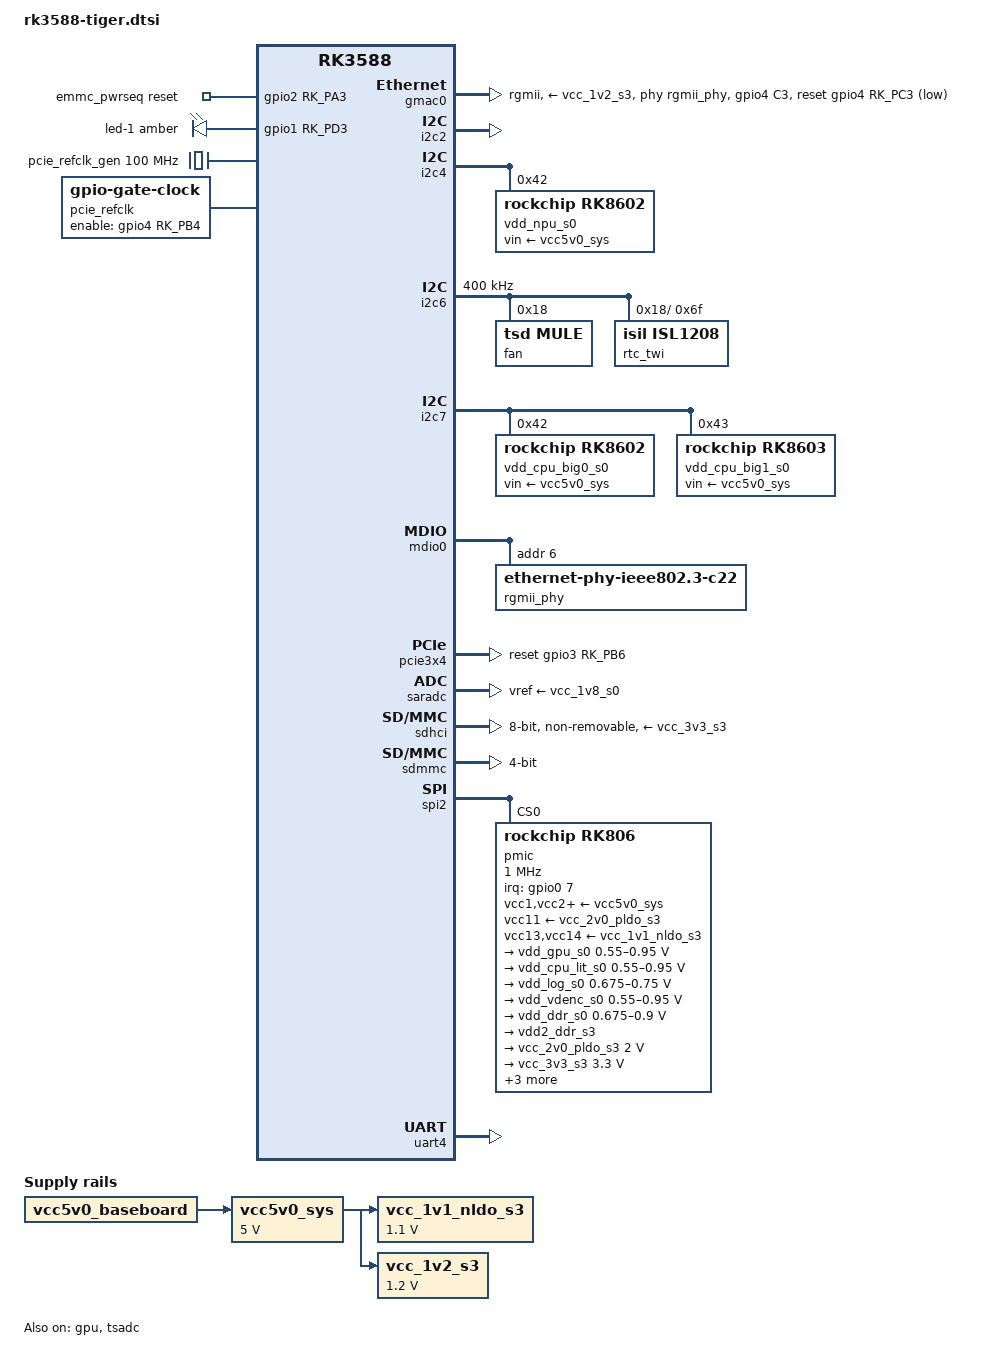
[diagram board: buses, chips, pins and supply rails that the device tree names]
// SPDX-License-Identifier: (GPL-2.0+ OR MIT)
/*
 * Copyright (c) 2023 Theobroma Systems Design und Consulting GmbH
 */

#include <dt-bindings/gpio/gpio.h>
#include <dt-bindings/leds/common.h>
#include <dt-bindings/pinctrl/rockchip.h>
#include "rk3588.dtsi"

/ {
	compatible = "tsd,rk3588-tiger", "rockchip,rk3588";

	aliases {
		i2c10 = &i2c10;
		mmc0 = &sdhci;
		rtc0 = &rtc_twi;
	};

	emmc_pwrseq: emmc-pwrseq {
		compatible = "mmc-pwrseq-emmc";
		pinctrl-0 = <&emmc_reset>;
		pinctrl-names = "default";
		reset-gpios = <&gpio2 RK_PA3 GPIO_ACTIVE_HIGH>;
	};

	extcon_usb3: extcon-usb3 {
		compatible = "linux,extcon-usb-gpio";
		id-gpios = <&gpio3 RK_PC0 GPIO_ACTIVE_HIGH>;
		pinctrl-names = "default";
		pinctrl-0 = <&usb3_id>;
		status = "disabled";
	};

	leds {
		compatible = "gpio-leds";
		pinctrl-names = "default";
		pinctrl-0 = <&module_led_pin>;

		/* Named LED1 on the board */
		led-1 {
			gpios = <&gpio1 RK_PD3 GPIO_ACTIVE_HIGH>;
			function = LED_FUNCTION_HEARTBEAT;
			linux,default-trigger = "heartbeat";
			color = <LED_COLOR_ID_AMBER>;
		};
	};

	/*
	 * 100MHz reference clock for PCIe peripherals from PI6C557-05BLE
	 * clock generator.
	 * The clock output is gated via the OE pin on the clock generator.
	 * This is modeled as a fixed-clock plus a gpio-gate-clock.
	 */
	pcie_refclk_gen: pcie-refclk-gen-clock {
		compatible = "fixed-clock";
		#clock-cells = <0>;
		clock-frequency = <100000000>;
	};

	pcie_refclk: pcie-refclk-clock {
		compatible = "gpio-gate-clock";
		clocks = <&pcie_refclk_gen>;
		#clock-cells = <0>;
		enable-gpios = <&gpio4 RK_PB4 GPIO_ACTIVE_HIGH>; /* PCIE30X4_CLKREQN_M1_L */
	};

	vcc_1v1_nldo_s3: regulator-vcc-1v1-nldo-s3 {
		compatible = "regulator-fixed";
		regulator-name = "vcc_1v1_nldo_s3";
		regulator-always-on;
		regulator-boot-on;
		regulator-min-microvolt = <1100000>;
		regulator-max-microvolt = <1100000>;
		vin-supply = <&vcc5v0_sys>;
	};

	vcc_1v2_s3: regulator-vcc-1v2-s3 {
		compatible = "regulator-fixed";
		regulator-name = "vcc_1v2_s3";
		regulator-always-on;
		regulator-boot-on;
		regulator-min-microvolt = <1200000>;
		regulator-max-microvolt = <1200000>;
		vin-supply = <&vcc5v0_sys>;
	};

	vcc5v0_sys: regulator-vcc5v0-sys {
		compatible = "regulator-fixed";
		regulator-name = "vcc5v0_sys";
		regulator-always-on;
		regulator-boot-on;
		regulator-min-microvolt = <5000000>;
		regulator-max-microvolt = <5000000>;
		vin-supply = <&vcc5v0_baseboard>;
	};
};

&cpu_b0 {
	cpu-supply = <&vdd_cpu_big0_s0>;
};

&cpu_b1 {
	cpu-supply = <&vdd_cpu_big0_s0>;
};

&cpu_b2 {
	cpu-supply = <&vdd_cpu_big1_s0>;
};

&cpu_b3 {
	cpu-supply = <&vdd_cpu_big1_s0>;
};

&cpu_l0 {
	cpu-supply = <&vdd_cpu_lit_s0>;
};

&cpu_l1 {
	cpu-supply = <&vdd_cpu_lit_s0>;
};

&cpu_l2 {
	cpu-supply = <&vdd_cpu_lit_s0>;
};

&cpu_l3 {
	cpu-supply = <&vdd_cpu_lit_s0>;
};

&gmac0 {
	clock_in_out = "output";
	phy-handle = <&rgmii_phy>;
	phy-mode = "rgmii";
	phy-supply = <&vcc_1v2_s3>;
	pinctrl-names = "default";
	pinctrl-0 = <&gmac0_miim
		     &gmac0_rx_bus2
		     &gmac0_tx_bus2
		     &gmac0_rgmii_clk
		     &gmac0_rgmii_bus
		     &eth0_pins
		     &eth_reset>;
	tx_delay = <0x10>;
	rx_delay = <0x10>;
	snps,reset-gpio = <&gpio4 RK_PC3 GPIO_ACTIVE_LOW>;
	snps,reset-active-low;
	snps,reset-delays-us = <0 10000 100000>;
};

&gpu {
	mali-supply = <&vdd_gpu_s0>;
	status = "okay";
};

&hdmi0 {
	pinctrl-names = "default";
	pinctrl-0 = <&hdmim1_tx0_cec &hdmim0_tx0_hpd &hdmim1_tx0_scl
		     &hdmim1_tx0_sda>;
};

&i2c1 {
	pinctrl-0 = <&i2c1m0_xfer>;
};

&i2c1m0_xfer {
	rockchip,pins =
		/* i2c1_scl_m0 */
		<0 RK_PB5 9 &pcfg_pull_none_drv_level_0>,
		/* i2c1_sda_m0 */
		<0 RK_PB6 9 &pcfg_pull_none_drv_level_0>;
};

&i2c2 {
	pinctrl-0 = <&i2c2m3_xfer>;
	status = "okay";
};

&i2c2m3_xfer {
	rockchip,pins =
		/* i2c2_scl_m3 */
		<1 RK_PC5 9 &pcfg_pull_none_drv_level_0>,
		/* i2c2_sda_m3 */
		<1 RK_PC4 9 &pcfg_pull_none_drv_level_0>;
};

&i2c3 {
	pinctrl-0 = <&i2c3m0_xfer>;
};

&i2c4 {
	pinctrl-0 = <&i2c4m4_xfer>;
	status = "okay";

	vdd_npu_s0: regulator@42 {
		compatible = "rockchip,rk8602";
		reg = <0x42>;
		fcs,suspend-voltage-selector = <1>;
		regulator-name = "vdd_npu_s0";
		regulator-always-on;
		regulator-boot-on;
		regulator-min-microvolt = <550000>;
		regulator-max-microvolt = <950000>;
		regulator-ramp-delay = <2300>;
		vin-supply = <&vcc5v0_sys>;

		regulator-state-mem {
			regulator-off-in-suspend;
		};
	};
};

&i2c5 {
	pinctrl-0 = <&i2c5m1_xfer>;
};

&i2c5m1_xfer {
	rockchip,pins =
		/* i2c5_scl_m1 */
		<4 RK_PB6 9 &pcfg_pull_none_drv_level_0>,
		/* i2c5_sda_m1 */
		<4 RK_PB7 9 &pcfg_pull_none_drv_level_0>;
};

&i2c6 {
	/*
	 * Mule-ATtiny can handle up to Fast mode Plus (1MHz) on I2C bus,
	 * but SOC can handle only up to (400kHz).
	 */
	clock-frequency = <400000>;
	status = "okay";

	fan@18 {
		compatible = "tsd,mule", "ti,amc6821";
		reg = <0x18>;

		i2c-mux {
			compatible = "tsd,mule-i2c-mux";
			#address-cells = <1>;
			#size-cells = <0>;

			i2c10: i2c@0 {
				reg = <0x0>;
				#address-cells = <1>;
				#size-cells = <0>;

				rtc_twi: rtc@6f {
					compatible = "isil,isl1208";
					reg = <0x6f>;
				};
			};
		};
	};
};

&i2c6m0_xfer {
	rockchip,pins =
		/* i2c6_scl_m0 */
		<0 RK_PD0 9 &pcfg_pull_none_drv_level_0>,
		/* i2c6_sda_m0 */
		<0 RK_PC7 9 &pcfg_pull_none_drv_level_0>;
};

&i2c7 {
	status = "okay";

	vdd_cpu_big0_s0: regulator@42 {
		compatible = "rockchip,rk8602";
		reg = <0x42>;
		fcs,suspend-voltage-selector = <1>;
		regulator-name = "vdd_cpu_big0_s0";
		regulator-always-on;
		regulator-boot-on;
		regulator-min-microvolt = <550000>;
		regulator-max-microvolt = <1050000>;
		regulator-ramp-delay = <2300>;
		vin-supply = <&vcc5v0_sys>;

		regulator-state-mem {
			regulator-off-in-suspend;
		};
	};

	vdd_cpu_big1_s0: regulator@43 {
		compatible = "rockchip,rk8603", "rockchip,rk8602";
		reg = <0x43>;
		fcs,suspend-voltage-selector = <1>;
		regulator-name = "vdd_cpu_big1_s0";
		regulator-always-on;
		regulator-boot-on;
		regulator-min-microvolt = <550000>;
		regulator-max-microvolt = <1050000>;
		regulator-ramp-delay = <2300>;
		vin-supply = <&vcc5v0_sys>;

		regulator-state-mem {
			regulator-off-in-suspend;
		};
	};
};

&i2c7m0_xfer {
	rockchip,pins =
		/* i2c7_scl_m0 */
		<1 RK_PD0 9 &pcfg_pull_none_drv_level_0>,
		/* i2c7_sda_m0 */
		<1 RK_PD1 9 &pcfg_pull_none_drv_level_0>;
};

&i2c8 {
	pinctrl-0 = <&i2c8m2_xfer>;
};

&mdio0 {
	rgmii_phy: ethernet-phy@6 {
		/* KSZ9031 or KSZ9131 */
		compatible = "ethernet-phy-ieee802.3-c22";
		reg = <0x6>;
		clocks = <&cru REFCLKO25M_ETH0_OUT>;
	};
};

&pcie3x4 {
	/*
	 * The board has a gpio-controlled "pcie_refclk" generator,
	 * so add it to the list of clocks.
	 */
	clocks = <&cru ACLK_PCIE_4L_MSTR>, <&cru ACLK_PCIE_4L_SLV>,
		 <&cru ACLK_PCIE_4L_DBI>, <&cru PCLK_PCIE_4L>,
		 <&cru CLK_PCIE_AUX0>, <&cru CLK_PCIE4L_PIPE>,
		 <&pcie_refclk>;
	clock-names = "aclk_mst", "aclk_slv",
		      "aclk_dbi", "pclk",
		      "aux", "pipe",
		      "ref";
	reset-gpios = <&gpio3 RK_PB6 GPIO_ACTIVE_HIGH>;
};

&pinctrl {
	emmc {
		emmc_reset: emmc-reset {
			rockchip,pins = <2 RK_PA3 RK_FUNC_GPIO &pcfg_pull_none>;
		};
	};

	ethernet {
		eth_reset: eth-reset {
			rockchip,pins = <4 RK_PC3 RK_FUNC_GPIO &pcfg_pull_none>;
		};
	};

	leds {
		module_led_pin: module-led-pin {
			rockchip,pins = <1 RK_PD3 RK_FUNC_GPIO &pcfg_pull_none>;
		};
	};

	usb3 {
		usb3_id: usb3-id {
			rockchip,pins =
			  <3 RK_PC0 RK_FUNC_GPIO &pcfg_pull_none>;
		};
	};
};

&pwm0 {
	pinctrl-0 = <&pwm0m1_pins>;
	pinctrl-names = "default";
};

&saradc {
	vref-supply = <&vcc_1v8_s0>;
	status = "okay";
};

&sdhci {
	bus-width = <8>;
	cap-mmc-highspeed;
	mmc-ddr-1_8v;
	mmc-hs200-1_8v;
	mmc-hs400-1_8v;
	mmc-hs400-enhanced-strobe;
	mmc-pwrseq = <&emmc_pwrseq>;
	no-sdio;
	no-sd;
	non-removable;
	pinctrl-names = "default";
	pinctrl-0 = <&emmc_bus8 &emmc_cmd &emmc_clk &emmc_data_strobe>;
	supports-cqe;
	vmmc-supply = <&vcc_3v3_s3>;
	vqmmc-supply = <&vcc_1v8_s3>;
	status = "okay";
};

&sdmmc {
	bus-width = <4>;
	cap-sd-highspeed;
	max-frequency = <150000000>;
	vqmmc-supply = <&vccio_sd_s0>;
};

&spi0 {
	pinctrl-0 = <&spi0m1_cs0 &spi0m1_cs1 &spi0m3_pins>;
};

&spi2 {
	assigned-clocks = <&cru CLK_SPI2>;
	assigned-clock-rates = <200000000>;
	num-cs = <1>;
	pinctrl-names = "default";
	pinctrl-0 = <&spi2m2_cs0 &spi2m2_pins>;
	status = "okay";

	pmic@0 {
		compatible = "rockchip,rk806";
		reg = <0x0>;
		interrupt-parent = <&gpio0>;
		interrupts = <7 IRQ_TYPE_LEVEL_LOW>;
		gpio-controller;
		#gpio-cells = <2>;
		pinctrl-names = "default";
		pinctrl-0 = <&pmic_pins>, <&rk806_dvs1_null>,
			    <&rk806_dvs2_null>, <&rk806_dvs3_null>;
		spi-max-frequency = <1000000>;
		system-power-controller;
		vcc1-supply = <&vcc5v0_sys>;
		vcc2-supply = <&vcc5v0_sys>;
		vcc3-supply = <&vcc5v0_sys>;
		vcc4-supply = <&vcc5v0_sys>;
		vcc5-supply = <&vcc5v0_sys>;
		vcc6-supply = <&vcc5v0_sys>;
		vcc7-supply = <&vcc5v0_sys>;
		vcc8-supply = <&vcc5v0_sys>;
		vcc9-supply = <&vcc5v0_sys>;
		vcc10-supply = <&vcc5v0_sys>;
		vcc11-supply = <&vcc_2v0_pldo_s3>;
		vcc12-supply = <&vcc5v0_sys>;
		vcc13-supply = <&vcc_1v1_nldo_s3>;
		vcc14-supply = <&vcc_1v1_nldo_s3>;
		vcca-supply = <&vcc5v0_sys>;

		rk806_dvs1_null: dvs1-null-pins {
			pins = "gpio_pwrctrl1";
			function = "pin_fun0";
		};

		rk806_dvs2_null: dvs2-null-pins {
			pins = "gpio_pwrctrl2";
			function = "pin_fun0";
		};

		rk806_dvs3_null: dvs3-null-pins {
			pins = "gpio_pwrctrl3";
			function = "pin_fun0";
		};

		regulators {
			vdd_gpu_s0: dcdc-reg1 {
				regulator-boot-on;
				regulator-min-microvolt = <550000>;
				regulator-max-microvolt = <950000>;
				regulator-ramp-delay = <12500>;
				regulator-name = "vdd_gpu_s0";
				regulator-enable-ramp-delay = <400>;

				regulator-state-mem {
					regulator-off-in-suspend;
				};
			};

			vdd_cpu_lit_s0: dcdc-reg2 {
				regulator-name = "vdd_cpu_lit_s0";
				regulator-always-on;
				regulator-boot-on;
				regulator-min-microvolt = <550000>;
				regulator-max-microvolt = <950000>;
				regulator-ramp-delay = <12500>;

				regulator-state-mem {
					regulator-off-in-suspend;
				};
			};

			vdd_log_s0: dcdc-reg3 {
				regulator-name = "vdd_log_s0";
				regulator-always-on;
				regulator-boot-on;
				regulator-min-microvolt = <675000>;
				regulator-max-microvolt = <750000>;
				regulator-ramp-delay = <12500>;

				regulator-state-mem {
					regulator-off-in-suspend;
					regulator-suspend-microvolt = <750000>;
				};
			};

			vdd_vdenc_s0: dcdc-reg4 {
				regulator-name = "vdd_vdenc_s0";
				regulator-always-on;
				regulator-boot-on;
				regulator-min-microvolt = <550000>;
				regulator-max-microvolt = <950000>;
				regulator-ramp-delay = <12500>;

				regulator-state-mem {
					regulator-off-in-suspend;
				};
			};

			vdd_ddr_s0: dcdc-reg5 {
				regulator-name = "vdd_ddr_s0";
				regulator-always-on;
				regulator-boot-on;
				regulator-min-microvolt = <675000>;
				regulator-max-microvolt = <900000>;
				regulator-ramp-delay = <12500>;

				regulator-state-mem {
					regulator-off-in-suspend;
					regulator-suspend-microvolt = <850000>;
				};
			};

			vdd2_ddr_s3: dcdc-reg6 {
				regulator-name = "vdd2_ddr_s3";
				regulator-always-on;
				regulator-boot-on;

				regulator-state-mem {
					regulator-on-in-suspend;
				};
			};

			vcc_2v0_pldo_s3: dcdc-reg7 {
				regulator-name = "vcc_2v0_pldo_s3";
				regulator-always-on;
				regulator-boot-on;
				regulator-min-microvolt = <2000000>;
				regulator-max-microvolt = <2000000>;
				regulator-ramp-delay = <12500>;

				regulator-state-mem {
					regulator-on-in-suspend;
					regulator-suspend-microvolt = <2000000>;
				};
			};

			vcc_3v3_s3: dcdc-reg8 {
				regulator-name = "vcc_3v3_s3";
				regulator-always-on;
				regulator-boot-on;
				regulator-min-microvolt = <3300000>;
				regulator-max-microvolt = <3300000>;

				regulator-state-mem {
					regulator-on-in-suspend;
					regulator-suspend-microvolt = <3300000>;
				};
			};

			vddq_ddr_s0: dcdc-reg9 {
				regulator-name = "vddq_ddr_s0";
				regulator-always-on;
				regulator-boot-on;

				regulator-state-mem {
					regulator-off-in-suspend;
				};
			};

			vcc_1v8_s3: dcdc-reg10 {
				regulator-name = "vcc_1v8_s3";
				regulator-always-on;
				regulator-boot-on;
				regulator-min-microvolt = <1800000>;
				regulator-max-microvolt = <1800000>;

				regulator-state-mem {
					regulator-on-in-suspend;
					regulator-suspend-microvolt = <1800000>;
				};
			};

			vcca_1v8_s0: pldo-reg1 {
				regulator-name = "vcca_1v8_s0";
				regulator-always-on;
				regulator-boot-on;
				regulator-min-microvolt = <1800000>;
				regulator-max-microvolt = <1800000>;

				regulator-state-mem {
					regulator-off-in-suspend;
				};
			};

			vcc_1v8_s0: pldo-reg2 {
				regulator-name = "vcc_1v8_s0";
				regulator-always-on;
				regulator-boot-on;
				regulator-min-microvolt = <1800000>;
				regulator-max-microvolt = <1800000>;

				regulator-state-mem {
					regulator-off-in-suspend;
					regulator-suspend-microvolt = <1800000>;
				};
			};

			vdda_1v2_s0: pldo-reg3 {
				regulator-name = "vdda_1v2_s0";
				regulator-always-on;
				regulator-boot-on;
				regulator-min-microvolt = <1200000>;
				regulator-max-microvolt = <1200000>;

				regulator-state-mem {
					regulator-off-in-suspend;
				};
			};

			vcca_3v3_s0: pldo-reg4 {
				regulator-name = "vcca_3v3_s0";
				regulator-always-on;
				regulator-boot-on;
				regulator-min-microvolt = <3300000>;
				regulator-max-microvolt = <3300000>;
				regulator-ramp-delay = <12500>;

				regulator-state-mem {
					regulator-off-in-suspend;
				};
			};

			vccio_sd_s0: pldo-reg5 {
				regulator-name = "vccio_sd_s0";
				regulator-always-on;
				regulator-boot-on;
				regulator-min-microvolt = <1800000>;
				regulator-max-microvolt = <3300000>;
				regulator-ramp-delay = <12500>;

				regulator-state-mem {
					regulator-off-in-suspend;
				};
			};

			pldo6_s3: pldo-reg6 {
				regulator-name = "pldo6_s3";
				regulator-always-on;
				regulator-boot-on;
				regulator-min-microvolt = <1800000>;
				regulator-max-microvolt = <1800000>;

				regulator-state-mem {
					regulator-on-in-suspend;
					regulator-suspend-microvolt = <1800000>;
				};
			};

			vdd_0v75_s3: nldo-reg1 {
				regulator-name = "vdd_0v75_s3";
				regulator-always-on;
				regulator-boot-on;
				regulator-min-microvolt = <750000>;
				regulator-max-microvolt = <750000>;

				regulator-state-mem {
					regulator-on-in-suspend;
					regulator-suspend-microvolt = <750000>;
				};
			};

			vdda_ddr_pll_s0: nldo-reg2 {
				regulator-name = "vdda_ddr_pll_s0";
				regulator-always-on;
				regulator-boot-on;
				regulator-min-microvolt = <850000>;
				regulator-max-microvolt = <850000>;

				regulator-state-mem {
					regulator-off-in-suspend;
					regulator-suspend-microvolt = <850000>;
				};
			};

			vdda_0v75_s0: nldo-reg3 {
				regulator-name = "vdda_0v75_s0";
				regulator-always-on;
				regulator-boot-on;
				regulator-min-microvolt = <750000>;
				regulator-max-microvolt = <750000>;

				regulator-state-mem {
					regulator-off-in-suspend;
				};
			};

			vdda_0v85_s0: nldo-reg4 {
				regulator-name = "vdda_0v85_s0";
				regulator-always-on;
				regulator-boot-on;
				regulator-min-microvolt = <850000>;
				regulator-max-microvolt = <850000>;

				regulator-state-mem {
					regulator-off-in-suspend;
				};
			};

			vdd_0v75_s0: nldo-reg5 {
				regulator-name = "vdd_0v75_s0";
				regulator-always-on;
				regulator-boot-on;
				regulator-min-microvolt = <750000>;
				regulator-max-microvolt = <750000>;

				regulator-state-mem {
					regulator-off-in-suspend;
				};
			};
		};
	};
};

&tsadc {
	status = "okay";
};

/* Routed to UART0 on the Q7 connector */
&uart2 {
	pinctrl-0 = <&uart2m2_xfer>;
};

/* Mule-ATtiny UPDI */
&uart4 {
	pinctrl-0 = <&uart4m2_xfer>;
	status = "okay";
};
